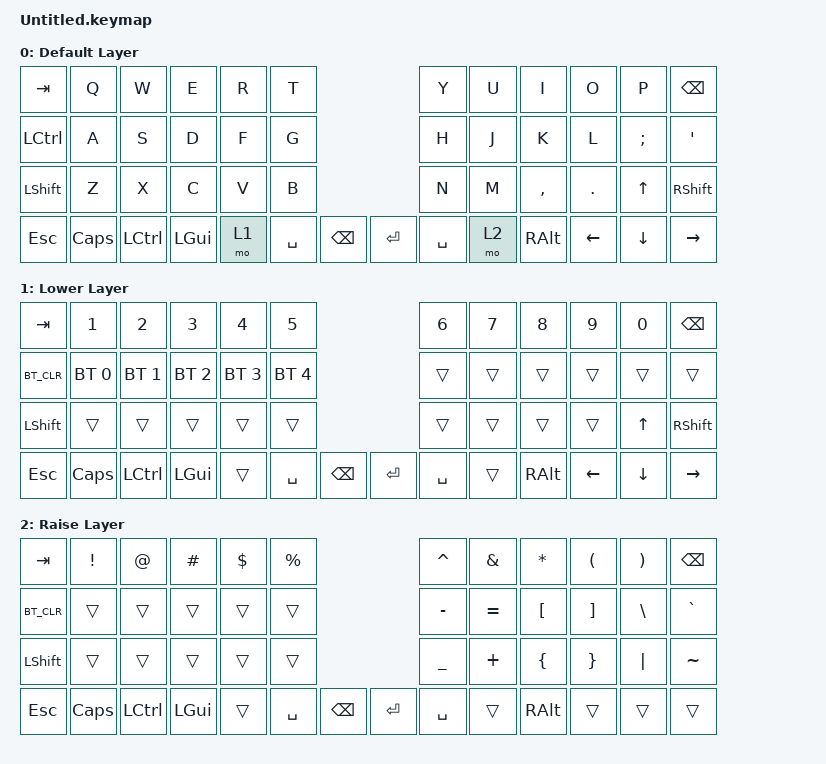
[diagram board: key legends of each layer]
#include <behaviors.dtsi>
#include <dt-bindings/zmk/keys.h>
#include <dt-bindings/zmk/bt.h>

/ {
        keymap {
                compatible = "zmk,keymap";

                default_layer {
                        display-name = "Default Layer";
// -----------------------------------------------------------------------------------------
// |  TAB |  Q  |  W  |  E  |  R  |  T  |                |  Y  |  U  |  I  |  O  |  P  | BSPC |
// | CTRL |  A  |  S  |  D  |  F  |  G  |                |  H  |  J  |  K  |  L  |  ;  |   '  |
// | SHFT |  Z  |  X  |  C  |  V  |  B  |                |  N  |  M  |  ,  |  .  |  UP | SHFT |
// |  ESC | CAPS| CTRL| GUI | LWR | SPC | BSPC |   | ENT | SPC | RSE | ALT | LFT | DWN |  RGT |
                        bindings = <
   &kp TAB   &kp Q     &kp W      &kp E     &kp R  &kp T                           &kp Y      &kp U  &kp I      &kp O     &kp P     &kp BSPC
   &kp LCTRL &kp A     &kp S      &kp D     &kp F  &kp G                           &kp H      &kp J  &kp K      &kp L     &kp SEMI  &kp SQT
   &kp LSHFT &kp Z     &kp X      &kp C     &kp V  &kp B                           &kp N      &kp M  &kp COMMA  &kp DOT   &kp UP    &kp RSHFT
   &kp ESC   &kp CAPS  &kp LCTRL  &kp LGUI  &mo 1  &kp SPACE  &kp BSPC    &kp RET  &kp SPACE  &mo 2  &kp RALT   &kp LEFT  &kp DOWN  &kp RIGHT
                        >;
                };

                lower_layer {
                        display-name = "Lower Layer";
// -----------------------------------------------------------------------------------------
// |  TAB |  1  |  2  |  3  |  4  |  5  |                |  6  |  7  |  8  |  9  |  0  | BSPC |
// | BTCLR| BT1 | BT2 | BT3 | BT4 | BT5 |                |     |     |     |     |     |      |
// | SHFT |     |     |     |     |     |                |     |     |     |     |  UP | SHFT |
// |  ESC | CAPS| CTRL| GUI |     | SPC | BSPC |   | ENT | SPC |     | ALT | LFT | DWN |  RGT |
                        bindings = <
   &kp TAB    &kp N1       &kp N2       &kp N3       &kp N4       &kp N5                          &kp N6     &kp N7  &kp N8    &kp N9    &kp N0    &kp BSPC
   &kp BT_CLR &bt BT_SEL 0 &bt BT_SEL 1 &bt BT_SEL 2 &bt BT_SEL 3 &bt BT_SEL 4                    &trans     &trans  &trans    &trans    &trans    &trans
   &kp LSHFT  &trans       &trans       &trans       &trans       &trans                          &trans     &trans  &trans    &trans    &kp UP    &kp RSHFT
   &kp ESC    &kp CAPS     &kp LCTRL    &kp LGUI     &trans       &kp SPACE  &kp BSPC    &kp RET  &kp SPACE  &trans  &kp RALT  &kp LEFT  &kp DOWN  &kp RIGHT
                        >;
                };

                raise_layer {
                        display-name = "Raise Layer";
// -----------------------------------------------------------------------------------------
// |  TAB |  !  |  @  |  #  |  $  |  %  |                |  ^  |  &  |  *  |  (  |  )  | BSPC |
// | CTRL |     |     |     |     |     |                |  -  |  =  |  [  |  ]  |  \  |  `   |
// | SHFT |     |     |     |     |     |                |  _  |  +  |  {  |  }  | "|" |  ~   |
// |  ESC | CAPS| CTRL| GUI |     | SPC | BSPC |   | ENT | SPC |     | ALT |     |     |      |

// -----------------------------------------------------------------------------------------
// |  TAB |  !  |  @  |  #  |  $  |  %  |   |  ^  |  &  |  *  |  (  |  )  | BSPC |
// | CTRL |     |     |     |     |     |   |  -  |  =  |  [  |  ]  |  \  |  `   |
// | SHFT |     |     |     |     |     |   |  _  |  +  |  {  |  }  | "|" |  ~   |
//                    | GUI |     | SPC |   | ENT |     | ALT |
                        bindings = <
   &kp TAB     &kp EXCL  &kp AT  &kp HASH  &kp DLLR  &kp PRCNT                                &kp CARET  &kp AMPS  &kp ASTRK  &kp LPAR  &kp RPAR  &kp BSPC
   &kp BT_CLR  &trans    &trans  &trans    &trans    &trans                                   &kp MINUS  &kp EQUAL &kp LBKT   &kp RBKT  &kp BSLH  &kp GRAVE
   &kp LSHFT   &trans    &trans  &trans    &trans    &trans                                   &kp UNDER  &kp PLUS  &kp LBRC   &kp RBRC  &kp PIPE  &kp TILDE
   &kp ESC     &kp CAPS     &kp LCTRL    &kp LGUI    &trans  &kp SPACE  &kp BSPC     &kp RET  &kp SPACE  &trans    &kp RALT   &trans    &trans    &trans
                        >;
                };
        };
};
